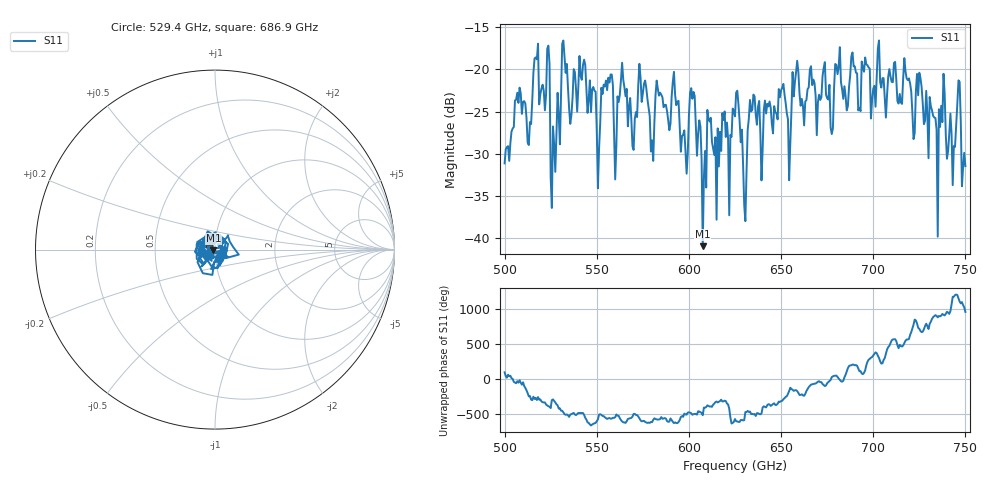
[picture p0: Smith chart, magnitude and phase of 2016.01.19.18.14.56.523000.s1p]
!Created with skrf (http://scikit-rf.org).
# GHz S RI R 50.0
!freq ReS11 ImS11
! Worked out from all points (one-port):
!   401 points, 500 GHz to 750 GHz, reference 50 ohm
!   lowest |S11| = -40.9 dB at 607.5 GHz (marker M1), VSWR 1.02, Z = 49.2 - j0.314 ohm
!   |S11| at or under -10 dB: start of sweep to end of sweep
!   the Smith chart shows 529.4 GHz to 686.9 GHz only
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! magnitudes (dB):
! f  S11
! 500 GHz  -31.1
! 507.5 GHz  -24.0
! 513.8 GHz  -26.2
! 516.9 GHz  -18.6
! 523.1 GHz  -17.6
! 526.2 GHz  -26.8
! 531.2 GHz  -17.0
! 542.5 GHz  -19.5
! 550.6 GHz  -34.1
! 553.8 GHz  -21.8
! 562.5 GHz  -23.0
! 570 GHz  -29.5
! 576.2 GHz  -21.3
! 580 GHz  -28.4
! 583.1 GHz  -22.3
! 593.8 GHz  -23.8
! 598.1 GHz  -29.6
! 601.9 GHz  -23.5
! 607.5 GHz  -40.9
! 625 GHz  -25.6
! 630.6 GHz  -38.0
! 634.4 GHz  -24.8
! 656.2 GHz  -20.3
! 687.5 GHz  -20.7
! 718.8 GHz  -21.3
! 733.8 GHz  -25.8
! 746.2 GHz  -21.3
! 750 GHz  -31.4
